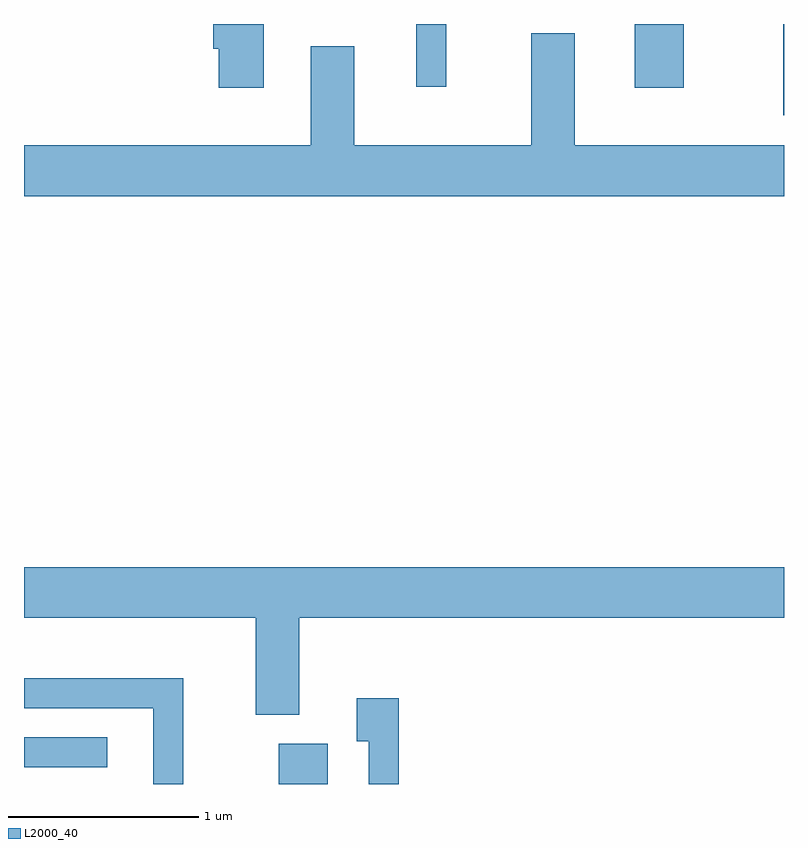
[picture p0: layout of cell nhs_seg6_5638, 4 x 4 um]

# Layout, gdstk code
import gdstk
lib = gdstk.Library(unit=1e-6, precision=1e-09)
def R(c, l, rs):  # rectangles x0, y0, x1, y1
    for r in rs: c.add(gdstk.rectangle(r[:2], r[2:], *l))
def P(c, l, *ps):  # polygons
    for p in ps: c.add(gdstk.Polygon(p, *l))
L2000_40 = (2000, 40)

nhs_seg6_5638 = lib.new_cell('nhs_seg6_5638')
R(nhs_seg6_5638, L2000_40, [(356.951,1660.162,357.209,1660.374), (355.611,1660.251,356.048,1660.409), (359.606,1663.681,359.611,1664.162), (358.826,1663.826,359.084,1664.162), (357.676,1663.833,357.834,1664.162)])
P(nhs_seg6_5638, L2000_40, [(356.874,1664.162),(356.606,1664.162),(356.606,1664.031),(356.636,1664.031),(356.636,1663.826),(356.874,1663.826)],
  [(359.611,1663.524),(358.509,1663.524),(358.509,1664.114),(358.281,1664.114),(358.281,1663.524),(357.349,1663.524),(357.349,1664.044),(357.121,1664.044),(357.121,1663.524),(355.611,1663.524),(355.611,1663.256),(359.611,1663.256)],
  [(357.059,1661.036),(359.611,1661.036),(359.611,1661.304),(355.611,1661.304),(355.611,1661.036),(356.831,1661.036),(356.831,1660.526),(357.059,1660.526)],
  [(356.449,1660.719),(355.611,1660.719),(355.611,1660.561),(356.291,1660.561),(356.291,1660.162),(356.449,1660.162)],
  [(357.584,1660.614),(357.361,1660.614),(357.361,1660.386),(357.426,1660.386),(357.426,1660.162),(357.584,1660.162)])

lib.write_gds('nhs_seg6_5638.gds')
